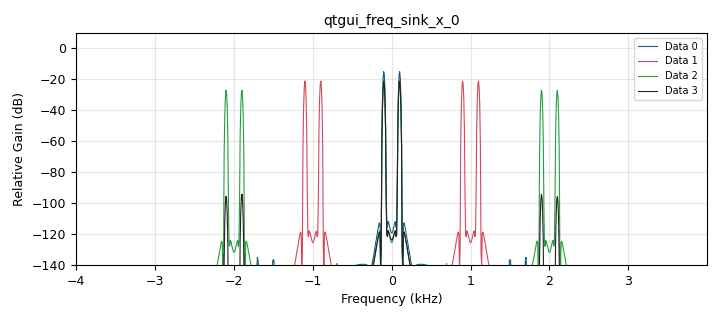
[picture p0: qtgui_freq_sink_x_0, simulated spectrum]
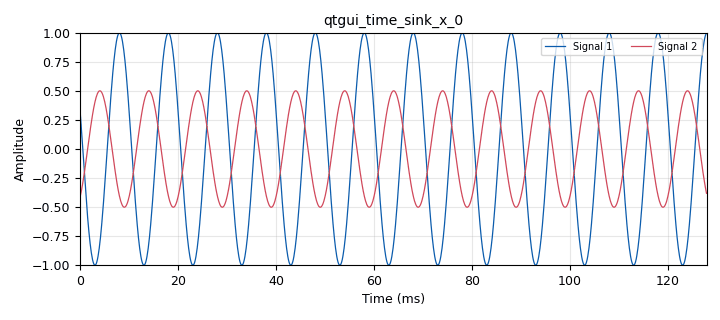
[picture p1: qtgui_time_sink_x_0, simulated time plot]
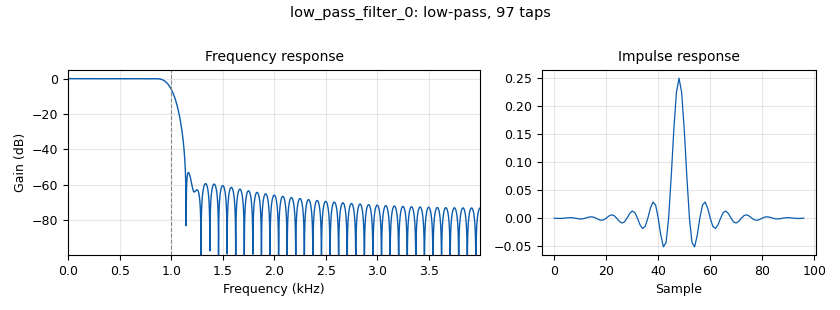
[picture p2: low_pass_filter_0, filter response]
options:
  parameters:
    generate_options: qt_gui
    id: WarmingUp_2Frequencies
    output_language: python
    title: Real Mixing Filtering
  states: {}

blocks:
- name: freq
  id: variable_qtgui_range
  parameters:
    gui_hint: 0,0,1,1
    outputmsgname: value
    showports: 'False'
    start: '0'
    step: '1'
    stop: samp_rate
    value: '100'
  states: {}
- name: freq2
  id: variable_qtgui_range
  parameters:
    gui_hint: 1,0,1,1
    outputmsgname: value
    showports: 'False'
    start: '0'
    step: '1'
    stop: samp_rate
    value: '1000'
  states: {}
- name: samp_rate
  id: variable
  parameters:
    value: '8000'
  states: {}
- name: tw
  id: variable_qtgui_range
  parameters:
    gui_hint: 2,0,1,1
    outputmsgname: value
    showports: 'False'
    start: '200'
    step: '100'
    stop: '1000'
    value: '200'
  states: {}
- name: analog_sig_source_x_0
  id: analog_sig_source_x
  parameters:
    amp: '1'
    freq: freq
    offset: '0'
    phase: '0'
    samp_rate: samp_rate
    type: float
    waveform: analog.GR_COS_WAVE
  states: {}
- name: analog_sig_source_x_0_0
  id: analog_sig_source_x
  parameters:
    amp: '1'
    freq: freq2
    offset: '0'
    phase: '0'
    samp_rate: samp_rate
    type: float
    waveform: analog.GR_COS_WAVE
  states: {}
- name: analog_sig_source_x_0_0_0
  id: analog_sig_source_x
  parameters:
    amp: '1'
    freq: freq2
    offset: '0'
    phase: '0'
    samp_rate: samp_rate
    type: float
    waveform: analog.GR_COS_WAVE
  states: {}
- name: blocks_multiply_xx_0
  id: blocks_multiply_xx
  parameters:
    type: float
  states: {}
- name: blocks_multiply_xx_0_0
  id: blocks_multiply_xx
  parameters:
    type: float
  states: {}
- name: blocks_throttle_0
  id: blocks_throttle
  parameters:
    samples_per_second: samp_rate
    type: float
  states: {}
- name: low_pass_filter_0
  id: low_pass_filter
  parameters:
    cutoff_freq: '1000'
    decim: '1'
    gain: '1'
    samp_rate: samp_rate
    type: fir_filter_fff
    width: tw
    win: window.WIN_HAMMING
  states: {}
- name: qtgui_freq_sink_x_0
  id: qtgui_freq_sink_x
  parameters:
    bw: samp_rate
    fc: '0'
    fftsize: '1024'
    nconnections: '4'
    type: float
  states: {}
- name: qtgui_time_sink_x_0
  id: qtgui_time_sink_x
  parameters:
    nconnections: '2'
    size: '1024'
    srate: samp_rate
    type: float
  states: {}

connections:
- [analog_sig_source_x_0, '0', blocks_throttle_0, '0']
- [analog_sig_source_x_0, '0', qtgui_time_sink_x_0, '0']
- [analog_sig_source_x_0_0, '0', blocks_multiply_xx_0, '1']
- [analog_sig_source_x_0_0_0, '0', blocks_multiply_xx_0_0, '1']
- [blocks_multiply_xx_0, '0', blocks_multiply_xx_0_0, '0']
- [blocks_multiply_xx_0, '0', qtgui_freq_sink_x_0, '1']
- [blocks_multiply_xx_0_0, '0', low_pass_filter_0, '0']
- [blocks_multiply_xx_0_0, '0', qtgui_freq_sink_x_0, '2']
- [blocks_throttle_0, '0', blocks_multiply_xx_0, '0']
- [blocks_throttle_0, '0', qtgui_freq_sink_x_0, '0']
- [low_pass_filter_0, '0', qtgui_freq_sink_x_0, '3']
- [low_pass_filter_0, '0', qtgui_time_sink_x_0, '1']

metadata:
  file_format: 1
  grc_version: 3.10.4.0
